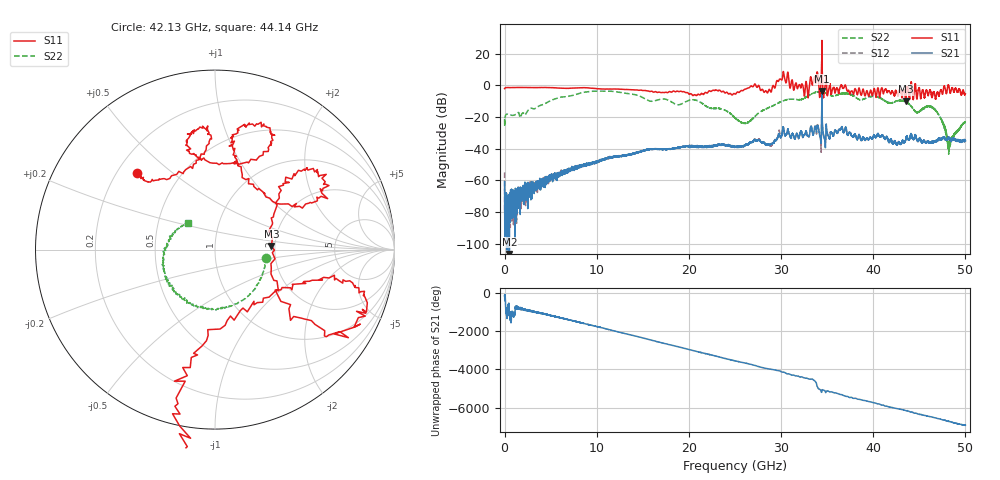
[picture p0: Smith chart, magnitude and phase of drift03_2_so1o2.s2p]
!Created with skrf (http://scikit-rf.org).
# Hz S RI R 50.0
!freq ReS11 ImS11 ReS21 ImS21 ReS12 ImS12 ReS22 ImS22
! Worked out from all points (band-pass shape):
!   10001 points, 300 kHz to 50 GHz, reference 50 ohm
!   highest |S21| = -3.52 dB at 34.43 GHz (marker M1); lowest = -106.6 dB at 515.3 MHz (marker M2)
!   |S21| within 3 dB of the highest: 34.42758 GHz to 34.43643 GHz (8.846 MHz wide, 0.0257 % of centre)
!   lowest |S11| = -10.0 dB at 43.53 GHz (marker M3), VSWR 1.92, Z = 95.7 + j4.2 ohm
!   |S11| at or under -10 dB: 43.52914 GHz to 43.53051 GHz (1.37 MHz wide, 0.00315 % of centre)
!   |S22| runs from -43.5 to -3.6 dB; largest |S21 - S12| = 0.21
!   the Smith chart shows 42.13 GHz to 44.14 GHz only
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300000  -0.7698 -0.1621  -0.000872 -0.000257  0.00146 0.001  -0.0445 -0.0753
5.152969e8  -0.4242 0.7357  -4.11e-07 -4.63e-06  -4.7e-05 0.000156  0.0431 -0.1094
2.330286e9  0.0828 -0.8513  -0.000405 2.81e-05  -0.000462 -0.000102  0.1241 0.0336
3.940276e9  -0.0316 0.8529  0.000922 4.71e-05  0.000775 0.000105  -0.2344 0.0242
8.33525e9  0.6671 -0.5177  -0.00186 -0.00215  -0.00167 -0.00219  0.5522 -0.1789
9.620242e9  -0.7937 -0.0882  0.000348 0.00346  0.000341 0.00359  -0.6372 -0.131
1.132523e10  0.7601 0.0293  -0.0024 -0.00429  -0.00267 -0.00451  0.6264 -0.1943
1.66702e10  -0.4008 0.4479  0.0066 -0.00691  0.00688 -0.007  0.3499 0.0162
2.500015e10  -0.1343 -0.5116  0.008 0.00808  0.00789 0.00812  -0.0792 0.0517
2.676014e10  0.0319 0.9585  -0.0124 -0.00957  -0.0127 -0.0101  0.0783 -0.0122
2.821013e10  -0.1906 -0.5924  0.0129 0.00642  0.0136 0.00668  -0.1376 -0.1005
2.955012e10  -1.075 0.9216  -0.00354 -0.0202  -0.00271 -0.0193  0.0799 0.2511
3.011012e10  0.5357 1.41  -0.0301 -0.00114  -0.0293 2.07e-05  0.3001 0.0912
3.069012e10  2.012 -1.203  0.00918 0.0372  0.0109 0.0311  0.281 -0.2182
3.136011e10  0.0698 -0.7035  0.0236 0.00863  0.0244 0.00739  -0.097 -0.3492
3.33351e10  -0.1337 1.273  -0.0427 0.00114  -0.0418 0.00198  0.5425 0.0197
3.443009e10  -25.43 -6.23  -0.3802 -0.5482  -0.4048 -0.3428  -0.2175 -0.5919
3.680508e10  0.8375 -0.0771  0.0287 0.015  0.0288 0.0156  0.0886 -0.5473
4.167005e10  -0.6395 0.1628  -0.0155 0.00517  -0.0157 0.00515  0.1489 0.2418
4.353004e10  0.3141 0.0198  0.0156 -0.0114  0.0153 -0.0117  -0.288 -0.105
4.823001e10  -0.8401 -0.2444  -0.0097 0.0194  -0.0106 0.0188  -0.0136 0.00334
5e10  0.5135 -0.1745  0.000827 -0.0174  -0.000877 -0.019  0.0297 -0.0616
